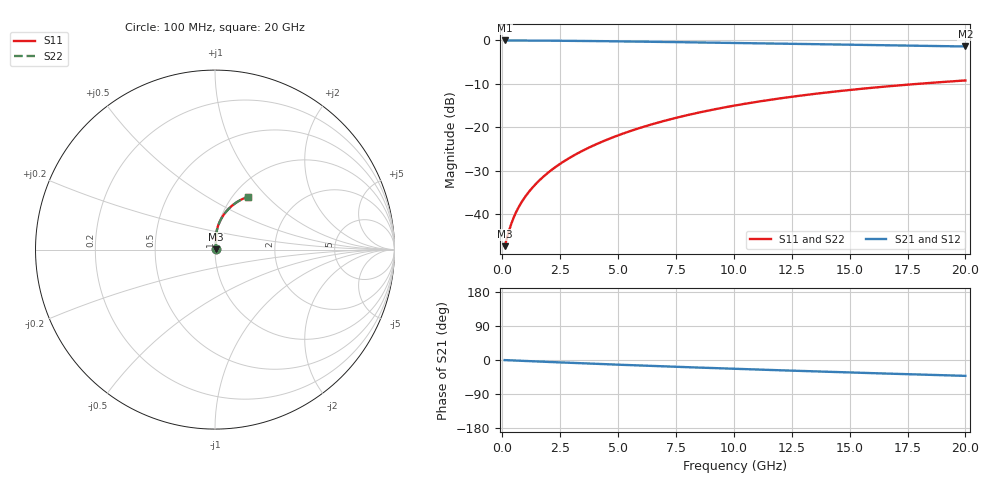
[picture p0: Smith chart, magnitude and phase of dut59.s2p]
! Touchstone file exported from HFSS 2024.1.0
!  File:  C:/UserFiles/LocalFiles/RDL_TSV_Batchsim/temp_RDL_bottom_59_1778693323.aedt
!  Generated:  01:31:26 AM May 14, 2026
!  Design:  RDL_bottom
!  Project:  temp_RDL_bottom_59_1778693323
!  Setup:  Setup1
!  Solution:  Sweep
! Variables:
!  dtsv = 10.80580581um
!  hbump = 3um
!  htsv = 82.52um
!  ldown = 591.18um
!  lrdl = 100um
!  p = 40
!  p1 = 52.35um
!  rhole = 1um
!  t = 450um
!  tdown = 2.17um
!  trdl = 3.915915916um
!  wdown = 27.14um
!  wrdl = 20um
# GHz S MA R 50.000000
! Terminal data exported
! Port[1] = RDL1_T1
! Port[2] = RDL1_T2
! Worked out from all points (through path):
!   200 points, 100 MHz to 20 GHz, reference 50 ohm
!   highest |S21| = -0.03 dB at 100 MHz (marker M1); lowest = -1.4 dB at 20 GHz (marker M2)
!   group delay of S21, straight-line fit = 5.76 ps
!   lowest |S11| = -47.4 dB at 100 MHz (marker M3), VSWR 1.01, Z = 50.4 + j0.174 ohm
!   |S11| at or under -10 dB: start of sweep to 17.98 GHz
!   |S22| runs from -47.4 to -9.2 dB; largest |S21 - S12| = 4.3e-15
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0.1  0.004288 23.8  0.9961 -0.3  0.9961 -0.3  0.004288 23.8
! Gamma 0 0 0 0
! Port Impedance 50 0 50 0
0.3  0.006564 50.0  0.9957 -0.8  0.9957 -0.8  0.006564 50.0
0.4  0.007904 56.2  0.9954 -1.1  0.9954 -1.1  0.007904 56.2
0.5  0.009256 60.5  0.9951 -1.3  0.9951 -1.3  0.009256 60.5
0.6  0.0106 63.8  0.9949 -1.6  0.9949 -1.6  0.0106 63.8
0.7  0.01195 66.4  0.9946 -1.8  0.9946 -1.8  0.01195 66.4
0.9  0.01465 70.4  0.9941 -2.3  0.9941 -2.3  0.01465 70.4
1.2  0.01878 74.7  0.9933 -3.1  0.9933 -3.1  0.01878 74.7
1.7  0.02592 79.2  0.9917 -4.4  0.9917 -4.4  0.02592 79.2
2.2  0.03338 82.0  0.9898 -5.6  0.9898 -5.6  0.03338 82.0
2.8  0.04275 84.0  0.9869 -7.1  0.9869 -7.1  0.04275 84.0
3.5  0.05423 85.3  0.9831 -8.8  0.9831 -8.8  0.05423 85.3
4.2  0.06627 85.8  0.9786 -10.5  0.9786 -10.5  0.06626 85.8
5  0.08062 85.8  0.973 -12.3  0.973 -12.3  0.08062 85.8
5.9  0.09739 85.2  0.9662 -14.4  0.9662 -14.4  0.09739 85.2
6.8  0.1146 84.1  0.9591 -16.4  0.9591 -16.4  0.1146 84.1
8.4  0.1458 81.5  0.9459 -19.8  0.9459 -19.8  0.1458 81.5
10.1  0.1789 78.2  0.9317 -23.3  0.9317 -23.3  0.1789 78.2
11.7  0.2093 74.9  0.9182 -26.5  0.9182 -26.5  0.2093 74.9
13.4  0.2404 71.4  0.9038 -29.9  0.9038 -29.9  0.2404 71.4
16.7  0.2963 64.6  0.8762 -36.0  0.8762 -36.0  0.2962 64.6
20  0.3455 58.2  0.8491 -41.9  0.8491 -41.9  0.3454 58.2
